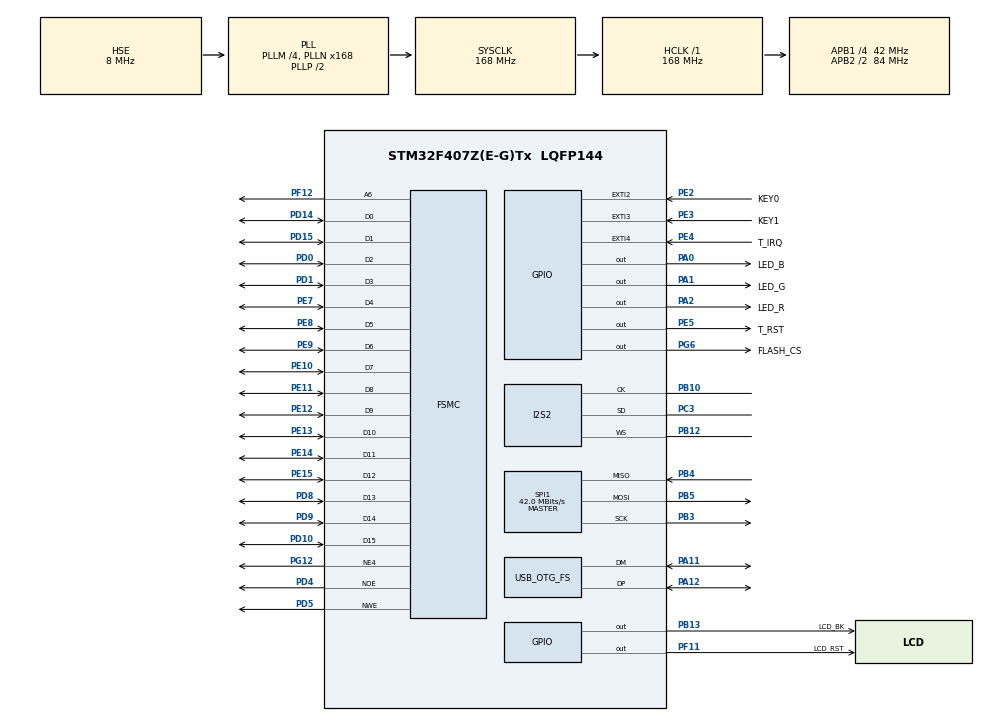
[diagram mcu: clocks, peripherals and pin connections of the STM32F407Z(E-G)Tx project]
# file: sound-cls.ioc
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Dma.Request0=SPI2_RX
Dma.Request1=SPI1_RX
Dma.Request2=SPI1_TX
Dma.SPI1_RX.1.Direction=DMA_PERIPH_TO_MEMORY
Dma.SPI1_RX.1.FIFOMode=DMA_FIFOMODE_DISABLE
Dma.SPI1_RX.1.Instance=DMA2_Stream0
Dma.SPI1_RX.1.MemDataAlignment=DMA_MDATAALIGN_BYTE
Dma.SPI1_RX.1.MemInc=DMA_MINC_ENABLE
Dma.SPI1_RX.1.Mode=DMA_CIRCULAR
Dma.SPI1_RX.1.PeriphDataAlignment=DMA_PDATAALIGN_BYTE
Dma.SPI1_RX.1.PeriphInc=DMA_PINC_DISABLE
Dma.SPI1_RX.1.Priority=DMA_PRIORITY_LOW
Dma.SPI1_TX.2.Direction=DMA_MEMORY_TO_PERIPH
Dma.SPI1_TX.2.FIFOMode=DMA_FIFOMODE_DISABLE
Dma.SPI1_TX.2.Instance=DMA2_Stream3
Dma.SPI1_TX.2.MemDataAlignment=DMA_MDATAALIGN_BYTE
Dma.SPI1_TX.2.MemInc=DMA_MINC_ENABLE
Dma.SPI1_TX.2.Mode=DMA_CIRCULAR
Dma.SPI1_TX.2.PeriphDataAlignment=DMA_PDATAALIGN_BYTE
Dma.SPI1_TX.2.PeriphInc=DMA_PINC_DISABLE
Dma.SPI1_TX.2.Priority=DMA_PRIORITY_LOW
Dma.SPI2_RX.0.Direction=DMA_PERIPH_TO_MEMORY
Dma.SPI2_RX.0.FIFOMode=DMA_FIFOMODE_DISABLE
Dma.SPI2_RX.0.Instance=DMA1_Stream3
Dma.SPI2_RX.0.MemDataAlignment=DMA_MDATAALIGN_WORD
Dma.SPI2_RX.0.MemInc=DMA_MINC_ENABLE
Dma.SPI2_RX.0.Mode=DMA_CIRCULAR
Dma.SPI2_RX.0.PeriphDataAlignment=DMA_PDATAALIGN_WORD
Dma.SPI2_RX.0.PeriphInc=DMA_PINC_DISABLE
Dma.SPI2_RX.0.Priority=DMA_PRIORITY_LOW
FSMC.AddressSetupTime1=15
FSMC.BusTurnAroundDuration1=0
FSMC.DataSetupTime1=9
FSMC.ExtendedAddressSetupTime1=8
FSMC.ExtendedDataSetupTime1=9
FSMC.ExtendedMode1=FSMC_EXTENDED_MODE_ENABLE
I2S2.AudioFreq=I2S_AUDIOFREQ_16K
I2S2.DataFormat=I2S_DATAFORMAT_24B
I2S2.ErrorAudioFreq=-0.35 %
I2S2.FullDuplexMode=I2S_FULLDUPLEXMODE_DISABLE
I2S2.Instance=SPI$Index
I2S2.Mode=I2S_MODE_MASTER_RX
I2S2.RealAudioFreq=15.943 KHz
I2S2.VirtualMode=I2S_MODE_MASTER
Mcu.Family=STM32F4
Mcu.Name=STM32F407Z(E-G)Tx
Mcu.Package=LQFP144
NVIC.DMA1_Stream3_IRQn=true\:0\:0\:false\:false\:true\:false\:true\:true
NVIC.DMA2_Stream0_IRQn=true\:0\:0\:false\:false\:true\:false\:true\:true
NVIC.DMA2_Stream3_IRQn=true\:0\:0\:false\:false\:true\:false\:true\:true
NVIC.EXTI2_IRQn=true\:0\:0\:false\:false\:true\:true\:true\:true
NVIC.EXTI3_IRQn=true\:0\:0\:false\:false\:true\:true\:true\:true
NVIC.EXTI4_IRQn=true\:0\:0\:false\:false\:true\:true\:true\:true
NVIC.OTG_FS_IRQn=true\:0\:0\:false\:false\:true\:false\:true\:true
NVIC.PriorityGroup=NVIC_PRIORITYGROUP_4
PA0-WKUP.GPIO_Label=LED_B
PA0-WKUP.PinState=GPIO_PIN_SET
PA0-WKUP.Signal=GPIO_Output
PA1.GPIO_Label=LED_G
PA1.PinState=GPIO_PIN_SET
PA1.Signal=GPIO_Output
PA11.Mode=Device_Only
PA11.Signal=USB_OTG_FS_DM
PA12.Mode=Device_Only
PA12.Signal=USB_OTG_FS_DP
PA13.Mode=Serial_Wire
PA13.Signal=SYS_JTMS-SWDIO
PA14.Mode=Serial_Wire
PA14.Signal=SYS_JTCK-SWCLK
PA2.GPIO_Label=LED_R
PA2.PinState=GPIO_PIN_SET
PA2.Signal=GPIO_Output
PB10.Mode=Half_Duplex_Master
PB10.Signal=I2S2_CK
PB12.Mode=Half_Duplex_Master
PB12.Signal=I2S2_WS
PB13.GPIO_Label=LCD_BK
PB13.GPIO_PuPd=GPIO_NOPULL
PB13.PinState=GPIO_PIN_SET
PB13.Signal=GPIO_Output
PB3.Mode=Full_Duplex_Master
PB3.Signal=SPI1_SCK
PB4.Mode=Full_Duplex_Master
PB4.Signal=SPI1_MISO
PB5.Mode=Full_Duplex_Master
PB5.Signal=SPI1_MOSI
PC3.Mode=Half_Duplex_Master
PC3.Signal=I2S2_SD
PD0.Signal=FSMC_D2_DA2
PD1.Signal=FSMC_D3_DA3
PD10.Signal=FSMC_D15_DA15
PD14.Signal=FSMC_D0_DA0
PD15.Signal=FSMC_D1_DA1
PD4.Signal=FSMC_NOE
PD5.Signal=FSMC_NWE
PD8.Signal=FSMC_D13_DA13
PD9.Signal=FSMC_D14_DA14
PE10.Signal=FSMC_D7_DA7
PE11.Signal=FSMC_D8_DA8
PE12.Signal=FSMC_D9_DA9
PE13.Signal=FSMC_D10_DA10
PE14.Signal=FSMC_D11_DA11
PE15.Signal=FSMC_D12_DA12
PE2.GPIO_Label=KEY0
PE2.GPIO_ModeDefaultEXTI=GPIO_MODE_IT_RISING_FALLING
PE2.GPIO_PuPd=GPIO_PULLUP
PE2.Signal=GPXTI2
PE3.GPIO_Label=KEY1
PE3.Signal=GPXTI3
PE4.GPIO_Label=T_IRQ
PE4.Signal=GPXTI4
PE5.GPIO_Label=T_RST
PE5.PinState=GPIO_PIN_SET
PE5.Signal=GPIO_Output
PE7.Signal=FSMC_D4_DA4
PE8.Signal=FSMC_D5_DA5
PE9.Signal=FSMC_D6_DA6
PF11.GPIO_Label=LCD_RST
PF11.PinState=GPIO_PIN_SET
PF11.Signal=GPIO_Output
PF12.Signal=FSMC_A6
PG12.Mode=NorPsramChipSelect4_1
PG12.Signal=FSMC_NE4
PG6.GPIO_Label=FLASH_CS
PG6.PinState=GPIO_PIN_SET
PG6.Signal=GPIO_Output
PH0-OSC_IN.Mode=HSE-External-Oscillator
PH0-OSC_IN.Signal=RCC_OSC_IN
PH1-OSC_OUT.Mode=HSE-External-Oscillator
PH1-OSC_OUT.Signal=RCC_OSC_OUT
ProjectManager.HeapSize=0x800
ProjectManager.StackSize=0x800
ProjectManager.TargetToolchain=STM32CubeIDE
RCC.48MHZClocksFreq_Value=48000000
RCC.AHBFreq_Value=168000000
RCC.APB1CLKDivider=RCC_HCLK_DIV4
RCC.APB1Freq_Value=42000000
RCC.APB1TimFreq_Value=84000000
RCC.APB2CLKDivider=RCC_HCLK_DIV2
RCC.APB2Freq_Value=84000000
RCC.APB2TimFreq_Value=168000000
RCC.CortexFreq_Value=168000000
RCC.HCLKFreq_Value=168000000
RCC.HSE_VALUE=8000000
RCC.HSI_VALUE=16000000
RCC.LSE_VALUE=32768
RCC.PLLI2SN=50
RCC.PLLM=4
RCC.PLLN=168
RCC.PLLQ=7
RCC.PLLSourceVirtual=RCC_PLLSOURCE_HSE
RCC.SYSCLKFreq_VALUE=168000000
RCC.SYSCLKSource=RCC_SYSCLKSOURCE_PLLCLK
RCC.VCOOutputFreq_Value=336000000
SH.FSMC_A6.0=FSMC_A6,A6_1
SH.FSMC_D0_DA0.0=FSMC_D0,16b-d1
SH.FSMC_D10_DA10.0=FSMC_D10,16b-d1
SH.FSMC_D11_DA11.0=FSMC_D11,16b-d1
SH.FSMC_D12_DA12.0=FSMC_D12,16b-d1
SH.FSMC_D13_DA13.0=FSMC_D13,16b-d1
SH.FSMC_D14_DA14.0=FSMC_D14,16b-d1
SH.FSMC_D15_DA15.0=FSMC_D15,16b-d1
SH.FSMC_D1_DA1.0=FSMC_D1,16b-d1
SH.FSMC_D2_DA2.0=FSMC_D2,16b-d1
SH.FSMC_D3_DA3.0=FSMC_D3,16b-d1
SH.FSMC_D4_DA4.0=FSMC_D4,16b-d1
SH.FSMC_D5_DA5.0=FSMC_D5,16b-d1
SH.FSMC_D6_DA6.0=FSMC_D6,16b-d1
SH.FSMC_D7_DA7.0=FSMC_D7,16b-d1
SH.FSMC_D8_DA8.0=FSMC_D8,16b-d1
SH.FSMC_D9_DA9.0=FSMC_D9,16b-d1
SH.FSMC_NOE.0=FSMC_NOE,Lcd1
SH.FSMC_NWE.0=FSMC_NWE,Lcd1
SPI1.CalculateBaudRate=42.0 MBits/s
SPI1.Direction=SPI_DIRECTION_2LINES
SPI1.Mode=SPI_MODE_MASTER
SPI1.VirtualType=VM_MASTER
STMicroelectronics.X-CUBE-AI.8.1.0.ActivationBufferSizeList=13408
STMicroelectronics.X-CUBE-AI.8.1.0.ActivationBuffers=pool0
STMicroelectronics.X-CUBE-AI.8.1.0.ActivationNames=pool0
STMicroelectronics.X-CUBE-AI.8.1.0.ActivationSizes=AI_CAT_SOUND_CLS_DATA_ACTIVATION_1_SIZE
STMicroelectronics.X-CUBE-AI.8.1.0.HeapSize=0x800
STMicroelectronics.X-CUBE-AI.8.1.0.InternalRamActivationBufferMaxSize=AI_CAT_SOUND_CLS_DATA_ACTIVATIONS_SIZE
STMicroelectronics.X-CUBE-AI.8.1.0.LatestDirectoryUsed-502e732b3e972c652947555143b877ab43ce38154a46b5465676fd8f982b50c7=/home/pansamic/Develop/Machine-Learning/cat-sound-cls
STMicroelectronics.X-CUBE-AI.8.1.0.MaximumNumberOfInputLayer=1
STMicroelectronics.X-CUBE-AI.8.1.0.MaximumNumberOfOutputLayer=1
STMicroelectronics.X-CUBE-AI.8.1.0.MaximumSizeOfInputLayer=1
STMicroelectronics.X-CUBE-AI.8.1.0.MaximumSizeOfOutputLayer=1
STMicroelectronics.X-CUBE-AI.8.1.0.ModelActualCompression-502e732b3e972c652947555143b877ab43ce38154a46b5465676fd8f982b50c7=7.87
STMicroelectronics.X-CUBE-AI.8.1.0.ModelCompression-502e732b3e972c652947555143b877ab43ce38154a46b5465676fd8f982b50c7=Medium
STMicroelectronics.X-CUBE-AI.8.1.0.ModelFlashOccupation-502e732b3e972c652947555143b877ab43ce38154a46b5465676fd8f982b50c7=367288
STMicroelectronics.X-CUBE-AI.8.1.0.ModelHashList=502e732b3e972c652947555143b877ab43ce38154a46b5465676fd8f982b50c7
STMicroelectronics.X-CUBE-AI.8.1.0.ModelKind-502e732b3e972c652947555143b877ab43ce38154a46b5465676fd8f982b50c7=KERAS
STMicroelectronics.X-CUBE-AI.8.1.0.ModelMacc-502e732b3e972c652947555143b877ab43ce38154a46b5465676fd8f982b50c7=700576
STMicroelectronics.X-CUBE-AI.8.1.0.ModelName-502e732b3e972c652947555143b877ab43ce38154a46b5465676fd8f982b50c7=cat_sound_cls
STMicroelectronics.X-CUBE-AI.8.1.0.ModelNameList=cat_sound_cls
STMicroelectronics.X-CUBE-AI.8.1.0.ModelRamOccupation-502e732b3e972c652947555143b877ab43ce38154a46b5465676fd8f982b50c7=13408
STMicroelectronics.X-CUBE-AI.8.1.0.ModelStructureFile-502e732b3e972c652947555143b877ab43ce38154a46b5465676fd8f982b50c7=/home/pansamic/Develop/Machine-Learning/cat-sound-cls/cat_sound_classification_model.h5
STMicroelectronics.X-CUBE-AI.8.1.0.ModelType-502e732b3e972c652947555143b877ab43ce38154a46b5465676fd8f982b50c7=Saved model
STMicroelectronics.X-CUBE-AI.8.1.0.ReadyForCodeGeneration=true
STMicroelectronics.X-CUBE-AI.8.1.0.StackSize=0x800
STMicroelectronics.X-CUBE-AI.8.1.0.ValidationInputFile-502e732b3e972c652947555143b877ab43ce38154a46b5465676fd8f982b50c7=/home/pansamic/Develop/Machine-Learning/cat-sound-classification-v1.1/validation.npy
STMicroelectronics.X-CUBE-AI.8.1.0.WorkingBufferStartAddrList=0xFFFFFFFF
STMicroelectronics.X-CUBE-AI.8.1.0.XAaCUBEAaAICcArtificialOoIntelligenceJjCore=true
STMicroelectronics.X-CUBE-AI.8.1.0.copyWeightToRam-502e732b3e972c652947555143b877ab43ce38154a46b5465676fd8f982b50c7=false
STMicroelectronics.X-CUBE-AI.8.1.0.customLayerConfigEnabled-502e732b3e972c652947555143b877ab43ce38154a46b5465676fd8f982b50c7=false
STMicroelectronics.X-CUBE-AI.8.1.0.noOnnxIoTranspose-502e732b3e972c652947555143b877ab43ce38154a46b5465676fd8f982b50c7=false
STMicroelectronics.X-CUBE-AI.8.1.0.outputDirectory-502e732b3e972c652947555143b877ab43ce38154a46b5465676fd8f982b50c7=/home/pansamic/.stm32cubemx/cat_sound_cls_output
STMicroelectronics.X-CUBE-AI.8.1.0.splitWeigths-502e732b3e972c652947555143b877ab43ce38154a46b5465676fd8f982b50c7=true
STMicroelectronics.X-CUBE-AI.8.1.0.useInputAllocation-502e732b3e972c652947555143b877ab43ce38154a46b5465676fd8f982b50c7=true
STMicroelectronics.X-CUBE-AI.8.1.0.useOutputAllocation-502e732b3e972c652947555143b877ab43ce38154a46b5465676fd8f982b50c7=true
STMicroelectronics.X-CUBE-ALGOBUILD.1.3.0.LibraryCcDSPOoLibraryJjDSPOoLibrary=true
USB_DEVICE.APP_RX_DATA_SIZE-CDC_FS=512
USB_DEVICE.APP_TX_DATA_SIZE-CDC_FS=512
USB_DEVICE.CLASS_NAME_FS=CDC
USB_DEVICE.VirtualMode-CDC_FS=Cdc
USB_DEVICE.VirtualModeFS=Cdc_FS
USB_OTG_FS.VirtualMode=Device_Only
VP_CRC_VS_CRC.Mode=CRC_Activate
VP_STMicroelectronics.X-CUBE-AI_VS_ArtificialOoIntelligenceJjXAaCUBEAaAI_8.1.0.Mode=ArtificialOoIntelligenceJjXAaCUBEAaAI
VP_STMicroelectronics.X-CUBE-ALGOBUILD_VS_DSPOoLibraryJjLibrary_1.3.0_1.3.0.Mode=DSPOoLibraryJjLibrary
VP_USB_DEVICE_VS_USB_DEVICE_CDC_FS.Mode=CDC_FS
board=custom

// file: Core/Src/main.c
/* USER CODE BEGIN Header */
/**
  ******************************************************************************
  * @file           : main.c
  * @brief          : Main program body
  ******************************************************************************
  * @attention
  *
  * Copyright (c) 2023 STMicroelectronics.
  * All rights reserved.
  *
  * This software is licensed under terms that can be found in the LICENSE file
  * in the root directory of this software component.
  * If no LICENSE file comes with this software, it is provided AS-IS.
  *
  ******************************************************************************
  */
/* USER CODE END Header */
#include "main.h"
#include "crc.h"
#include "dma.h"
#include "i2s.h"
#include "spi.h"
#include "usb_device.h"
#include "gpio.h"
#include "fsmc.h"

/* USER CODE BEGIN Includes */
// #define __FPU_PRESENT 1
#include <stdio.h>
#include <stdlib.h>
#include <string.h>
#include <stdarg.h>
#include <sys/stat.h>
#include <unistd.h>
#include <errno.h>
#include "arm_math.h"
#include "cat_sound_cls.h"
#include "cat_sound_cls_data.h"
#include "usbd_cdc_if.h"
#include "st7789.h"
#include "mfcc.h"
#include "ppbuf.h"
/* USER CODE END Includes */

/* USER CODE BEGIN PD */
#define I2S_BUFFER1_SIZE      (4096) // unit:byte
#define I2S_BUFFER2_SIZE      (4096) // unit:byte

#define FLASH_CAPACITY        (0x01000000) // unit:byte
#define FLASH_BLOCK_CAPACITY  (0X00010000) // unit:byte
#define FLASH_SECTOR_CAPACITY (0X00001000) // unit:byte
#define FLASH_PAGE_CAPACITY   (0X00000100) // unit:byte
#define FLASH_MAX_RECV_COUNT  (FLASH_CAPACITY/FLASH_SECTOR_CAPACITY)

#define SIGNAL_I2S_RECV_DONE  (0X00000001)
#define SIGNAL_I2S_RECV_STOP  (0X00000002)
#define SIGNAL_KEY0_PRESS     (0X00000004)
#define SIGNAL_KEY0_RELEASE   (0X00000008)
#define SIGNAL_KEY1_PRESS     (0X00000010)
#define SIGNAL_KEY1_RELEASE   (0X00000020)
/* USER CODE END PD */

/* USER CODE BEGIN PV */
char debug_print_buffer[128];
const char* cat_sound_map[] = {
    "angry",
    "defense",
    "fighting",
    "happy",
    "huntingmind",
    "mating",
    "mothercall",
    "paining",
    "resting",
    "warning"
};

uint8_t ai_result = 0;

// Chunk of memory used to hold intermediate values for neural network
AI_ALIGNED(4) ai_u8 activations[AI_CAT_SOUND_CLS_DATA_ACTIVATIONS_SIZE]__attribute((section(".ccmram")))={0};

// Buffers used to store input and output tensors
AI_ALIGNED(4) float in_data[AI_CAT_SOUND_CLS_IN_1_SIZE]__attribute((section(".ccmram")))={0};
AI_ALIGNED(4) float out_data[AI_CAT_SOUND_CLS_OUT_1_SIZE]__attribute((section(".ccmram")))={0};

// Pointer to our model
ai_handle cat_sound_cls_model = AI_HANDLE_NULL;

// Initialize wrapper structs that hold pointers to data and info about the
// data (tensor height, width, channels)
ai_buffer ai_input[AI_CAT_SOUND_CLS_IN_NUM]__attribute((section(".ccmram")))={0};
ai_buffer ai_output[AI_CAT_SOUND_CLS_OUT_NUM]__attribute((section(".ccmram")))={0};

// Set working memory and get weights/biases from model
ai_network_params ai_params __attribute((section(".ccmram")))={0};

uint32_t i2s_buffer_1[I2S_BUFFER1_SIZE]; // real audio data is quarter of the buffer.
// uint32_t i2s_buffer_2[I2S_BUFFER2_SIZE/4];
ppbuf_t i2s_ppbuf={0};
float audio[256*78]={0};
float audio_frame[FRAME_SIZE]={0};
uint32_t sample_count = 0;

volatile uint8_t state_key = 0;
volatile uint8_t state_i2s = 0;
/* USER CODE END PV */

void SystemClock_Config(void);
/* USER CODE BEGIN PFP */
uint8_t get_network_result(float *arr, uint8_t size);
void process_audio(void);

/* USER CODE END PFP */

int main(void)
{

  /* MCU Configuration--------------------------------------------------------*/

  /* Reset of all peripherals, Initializes the Flash interface and the Systick. */
  HAL_Init();

  /* Configure the system clock */
  SystemClock_Config();

  /* Initialize all configured peripherals */
  MX_GPIO_Init();
  MX_DMA_Init();
  MX_I2S2_Init();
  MX_FSMC_Init();
  MX_SPI1_Init();
  MX_CRC_Init();
  MX_USB_DEVICE_Init();
  /* USER CODE BEGIN 2 */
  mfcc_init();
  // W25qxx_Init();
  lcddrv_Init();
  lcddrv_DispOn();
  lcddrv_FillColorPre(0,0,LCD_WIDTH,LCD_HEIGHT);
  debug_lcd_printf("cat sound classification");
  ai_error err = ai_cat_sound_cls_create(&cat_sound_cls_model, (ai_buffer*)AI_CAT_SOUND_CLS_DATA_CONFIG);
  if (err.type != AI_ERROR_NONE) {
    debug_lcd_printf("Neural network creation error - type = %lu, code = %lu\r\n", err.type, err.code);
    return -1;
  }
  ai_network_params params;
  params.params = AI_CAT_SOUND_CLS_DATA_WEIGHTS(ai_cat_sound_cls_data_weights_get());
  params.activations = AI_CAT_SOUND_CLS_DATA_ACTIVATIONS(activations);

  if (!ai_cat_sound_cls_init(cat_sound_cls_model, &params)) {
    debug_lcd_printf("Error: could not initialize network.");
    return -1;
  }
  ai_input[0].data = AI_HANDLE_PTR(in_data);
  ai_input[0].format = AI_BUFFER_FORMAT_FLOAT;
  ai_output[0].data = AI_HANDLE_PTR(out_data);
  // CDC_Transmit_FS((uint8_t*)"start\n", 6);
  /* USER CODE END 2 */

  /* Infinite loop */
  /* USER CODE BEGIN WHILE */
  while (1)
  {
    if((state_key & SIGNAL_KEY0_RELEASE))
    {
        // ppbuf_init(&i2s_ppbuf, i2s_buffer_1, sizeof(i2s_buffer_1), i2s_buffer_2, sizeof(i2s_buffer_2));
        // W25qxx_EraseChip();
        /* reset audio size */
        sample_count = 0;
        /**
         * division by 4 because DMA transfer frame in word(32 bits),
         * but capacity is in byte.
         * a sample contains 4 frames(2 for left channel, 2 for right channel),
         * and a frame contains 4 bytes(DMA frame size is set to WORD).
         */
        HAL_I2S_Receive_DMA(&hi2s2,(uint16_t*)i2s_buffer_1, sizeof(i2s_buffer_1)/sizeof(float));

        /* Blue LED on */
        HAL_GPIO_WritePin(LED_B_GPIO_Port, LED_B_Pin, GPIO_PIN_RESET);
        HAL_GPIO_WritePin(LED_G_GPIO_Port, LED_G_Pin, GPIO_PIN_SET);

        /* LCD display shows string */
        debug_lcd_printf("start recording");

        /* reset state machine */
        state_key = 0;
    }
    if(state_i2s == SIGNAL_I2S_RECV_DONE)
    {
        state_i2s = 0;

        /**
         * only keep the 16bits of one chaneel of a
         *  sample(stereo channel, 4 uint32_t per sample).
         * 'ppbuf_get_output_size(&i2s_ppbuf)/16' is from
         * 'ppbuf_get_output_size(&i2s_ppbuf)/4/4', where
         * division by 4 means only a quarter of the buffer is valid data,
         * division by 4 means DMA frame is set to 'Word'(4 bytes),
         */
        uint16_t new_sample = sizeof(i2s_buffer_1)/sizeof(float)/4;
        int16_t *pconvert = (int16_t*)i2s_buffer_1;
        for(uint32_t i=0 ; i<new_sample ; i++)
        {
            audio[sample_count+i] = (float)(*(pconvert+i*8));
        }
        sample_count += new_sample;

        if(sample_count >= sizeof(audio)/sizeof(float))
        {
            int32_t remaining_bytes = sizeof(audio);
            uint8_t cdc_result=0;
            while(remaining_bytes > 0)
            {
                cdc_result = CDC_Transmit_FS(((uint8_t*)audio)+(sizeof(audio)-remaining_bytes), 256);
                remaining_bytes -= 256;
            }
            HAL_I2S_DMAStop(&hi2s2);
            HAL_GPIO_WritePin(LED_B_GPIO_Port, LED_B_Pin, GPIO_PIN_SET);
            HAL_GPIO_WritePin(LED_G_GPIO_Port, LED_G_Pin, GPIO_PIN_RESET);

            process_audio();
        }
        else
        {
            /**
             * division by 4 because DMA transfer frame in word(32 bits),
             * but capacity is in byte.
             * a sample contains 4 frames(2 for left channel, 2 for right channel),
             * and a frame contains 4 bytes(DMA frame size is set to WORD).
             */
            HAL_I2S_Receive_DMA(&hi2s2, (uint16_t*)i2s_buffer_1, sizeof(i2s_buffer_1)/sizeof(float));
        }
    }

    /* USER CODE END WHILE */

  }
}

void SystemClock_Config(void)
{
  RCC_OscInitTypeDef RCC_OscInitStruct = {0};
  RCC_ClkInitTypeDef RCC_ClkInitStruct = {0};

  /** Configure the main internal regulator output voltage
  */
  __HAL_RCC_PWR_CLK_ENABLE();
  __HAL_PWR_VOLTAGESCALING_CONFIG(PWR_REGULATOR_VOLTAGE_SCALE1);

  /** Initializes the RCC Oscillators according to the specified parameters
  * in the RCC_OscInitTypeDef structure.
  */
  RCC_OscInitStruct.OscillatorType = RCC_OSCILLATORTYPE_HSE;
  RCC_OscInitStruct.HSEState = RCC_HSE_ON;
  RCC_OscInitStruct.PLL.PLLState = RCC_PLL_ON;
  RCC_OscInitStruct.PLL.PLLSource = RCC_PLLSOURCE_HSE;
  RCC_OscInitStruct.PLL.PLLM = 4;
  RCC_OscInitStruct.PLL.PLLN = 168;
  RCC_OscInitStruct.PLL.PLLP = RCC_PLLP_DIV2;
  RCC_OscInitStruct.PLL.PLLQ = 7;
  if (HAL_RCC_OscConfig(&RCC_OscInitStruct) != HAL_OK)
  {
    Error_Handler();
  }

  /** Initializes the CPU, AHB and APB buses clocks
  */
  RCC_ClkInitStruct.ClockType = RCC_CLOCKTYPE_HCLK|RCC_CLOCKTYPE_SYSCLK
                              |RCC_CLOCKTYPE_PCLK1|RCC_CLOCKTYPE_PCLK2;
  RCC_ClkInitStruct.SYSCLKSource = RCC_SYSCLKSOURCE_PLLCLK;
  RCC_ClkInitStruct.AHBCLKDivider = RCC_SYSCLK_DIV1;
  RCC_ClkInitStruct.APB1CLKDivider = RCC_HCLK_DIV4;
  RCC_ClkInitStruct.APB2CLKDivider = RCC_HCLK_DIV2;

  if (HAL_RCC_ClockConfig(&RCC_ClkInitStruct, FLASH_LATENCY_5) != HAL_OK)
  {
    Error_Handler();
  }
}

/* USER CODE BEGIN 4 */
void process_audio(void)
{
    uint32_t frame_offset = (sample_count - FRAME_SIZE)/(FRAME_COUNT - 1);
    float* mfcc_buffer = ai_input[0].data;
    memset(mfcc_buffer, 0, sizeof(float)*FRAME_COUNT*MFCC_CNT_PER_FRAME);
    for(uint8_t i=0 ; i<FRAME_COUNT ; i++)
    {
        arm_copy_f32(audio+i*frame_offset, audio_frame, FRAME_SIZE);
        audio_get_mfcc(audio_frame, (float*)i2s_buffer_1, (mfcc_buffer+i*MFCC_CNT_PER_FRAME));
    }
    ai_cat_sound_cls_run(cat_sound_cls_model, &ai_input[0], &ai_output[0]);
    ai_float *output = (ai_float *)ai_output[0].data;
    ai_result = get_network_result((float*)output, 10);
    debug_lcd_printf("CNN process result: %s",cat_sound_map[ai_result]);
}
uint8_t get_network_result(float *arr, uint8_t size)
{
    // Check if the array is empty
    if (size == 0)
        return -1; // Return -1 to indicate an error

    // Initialize the max value and index to the first element
    float max = arr[0];
    uint8_t max_idx = 0;
    // Loop through the rest of the array
    for (uint8_t i = 1; i < size; i++)
    {
        // If the current element is greater than the max value
        if (arr[i] > max)
        {
            // Update the max value and index
            max = arr[i];
            max_idx = i;
        }
  }
  // Return the max index
  // return max_idx;
  return rand()%10;
}

void HAL_GPIO_EXTI_Callback(uint16_t GPIO_Pin)
{
    if(GPIO_Pin==KEY0_Pin)
    {
        if(KEY0_GPIO_Port->IDR & KEY0_Pin)
            state_key = SIGNAL_KEY0_RELEASE;
        else
            state_key = SIGNAL_KEY0_PRESS;
    }
    else if(GPIO_Pin==KEY1_Pin)
    {
        if(KEY1_GPIO_Port->IDR & KEY1_Pin)
            state_key = SIGNAL_KEY1_RELEASE;
        else
            state_key = SIGNAL_KEY1_PRESS;
    }
}
void HAL_I2S_RxCpltCallback(I2S_HandleTypeDef *hi2s)
{
    state_i2s = SIGNAL_I2S_RECV_DONE;
    ppbuf_increase(&i2s_ppbuf, ppbuf_get_input_capacity(&i2s_ppbuf));
}

void debug_lcd_printf(char* fmt, ...)
{
	va_list argptr;
    memset(debug_print_buffer,0,sizeof(debug_print_buffer));
	va_start(argptr, fmt);
	vsprintf(debug_print_buffer, fmt, argptr);
	va_end(argptr);
	lcddrv_FillColorPre(0,0,LCD_WIDTH,LCD_HEIGHT);
	for(uint32_t i=0 ; i<LCD_WIDTH*LCD_HEIGHT; i++)
	    ST7789_RAM = 0xFFFF;
	lcddrv_ShowString(0,0,LCD_WIDTH,LCD_HEIGHT,16,(uint8_t*)debug_print_buffer,0x0000);
}
__attribute__((weak)) int _read(int file, char *ptr, int len)
{
    (void)file;

    return len;
}

__attribute__((weak)) int _write(int file, char *ptr, int len)
{
    (void)file;

    return len;
}

__attribute__((weak)) int _isatty(int fd)
{
    if (fd >= STDIN_FILENO && fd <= STDERR_FILENO)
        return 1;

    errno = EBADF;
    return 0;
}

__attribute__((weak)) int _close(int fd)
{
    if (fd >= STDIN_FILENO && fd <= STDERR_FILENO)
        return 0;

    errno = EBADF;
    return -1;
}

__attribute__((weak)) int _lseek(int fd, int ptr, int dir)
{
    (void)fd;
    (void)ptr;
    (void)dir;

    errno = EBADF;
    return -1;
}

__attribute__((weak)) int _fstat(int fd, struct stat *st)
{
    if (fd >= STDIN_FILENO && fd <= STDERR_FILENO)
    {
        st->st_mode = S_IFCHR;
        return 0;
    }

    errno = EBADF;
    return 0;
}

/* USER CODE END 4 */

void Error_Handler(void)
{
  __disable_irq();
  while (1)
  {
  }
}
